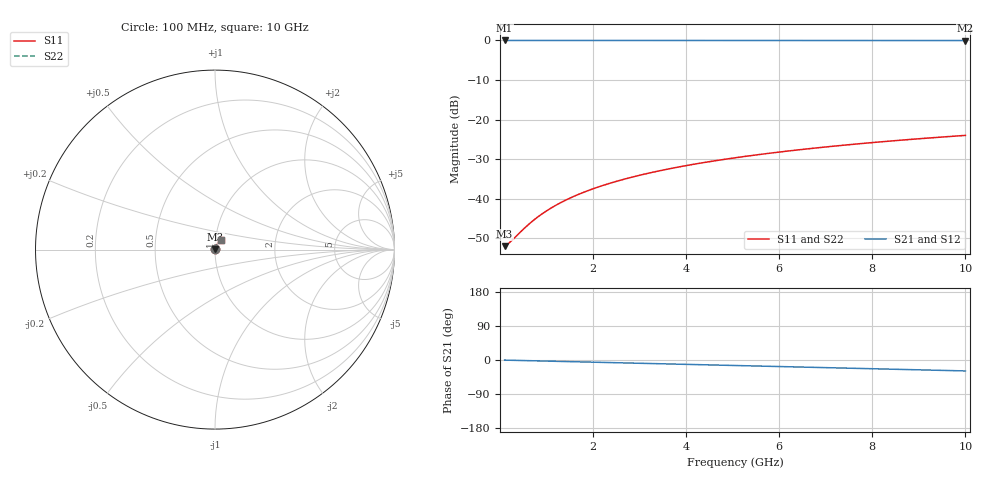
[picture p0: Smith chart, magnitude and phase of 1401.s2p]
# Hz S RI R 50.00
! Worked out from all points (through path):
!   100 points, 100 MHz to 10 GHz, reference 50 ohm
!   highest |S21| = -0.02 dB at 100 MHz (marker M1); lowest = 0.0 dB at 10 GHz (marker M2)
!   group delay of S21, straight-line fit = 8.01 ps
!   lowest |S11| = -52.0 dB at 100 MHz (marker M3), VSWR 1.01, Z = 50.2 + j0.065 ohm
!   |S11| at or under -10 dB: start of sweep to end of sweep
!   |S22| runs from -52.0 to -24.0 dB; largest |S21 - S12| = 0
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1e8  0.00244 0.000647  0.9975 -0.005  0.9975 -0.005  0.00244 0.000647
2e8  0.00247 0.00129  0.9975 -0.00999  0.9975 -0.00999  0.00247 0.00129
5e8  0.00256 0.00323  0.9972 -0.025  0.9972 -0.025  0.00256 0.00323
6e8  0.0026 0.00388  0.997 -0.03  0.997 -0.03  0.0026 0.00388
7e8  0.00265 0.00452  0.9969 -0.035  0.9969 -0.035  0.00265 0.00452
9e8  0.00276 0.00581  0.9964 -0.045  0.9964 -0.045  0.00276 0.00581
1.1e9  0.0029 0.00709  0.9959 -0.0549  0.9959 -0.0549  0.0029 0.00709
1.3e9  0.00306 0.00838  0.9953 -0.0649  0.9953 -0.0649  0.00306 0.00838
1.5e9  0.00324 0.00965  0.9946 -0.0749  0.9946 -0.0749  0.00324 0.00965
1.8e9  0.00357 0.0116  0.9933 -0.0898  0.9933 -0.0898  0.00357 0.0116
2.1e9  0.00395 0.0135  0.9918 -0.1048  0.9918 -0.1048  0.00395 0.0135
2.5e9  0.00455 0.016  0.9894 -0.1246  0.9894 -0.1246  0.00455 0.016
2.9e9  0.00525 0.0184  0.9866 -0.1445  0.9866 -0.1445  0.00525 0.0184
3.4e9  0.00626 0.0215  0.9826 -0.1692  0.9826 -0.1692  0.00626 0.0215
3.8e9  0.00718 0.0239  0.9789 -0.1889  0.9789 -0.1889  0.00718 0.0239
4.2e9  0.0082 0.0263  0.9749 -0.2085  0.9749 -0.2085  0.0082 0.0263
5.1e9  0.0108 0.0314  0.9642 -0.2524  0.9642 -0.2524  0.0108 0.0314
5.9e9  0.0136 0.0358  0.9531 -0.2909  0.9531 -0.2909  0.0136 0.0358
6.7e9  0.0166 0.04  0.9403 -0.329  0.9403 -0.329  0.0166 0.04
7.5e9  0.02 0.0439  0.926 -0.3666  0.926 -0.3666  0.02 0.0439
8.4e9  0.0243 0.0479  0.9081 -0.4082  0.9081 -0.4082  0.0243 0.0479
1e10  0.0326 0.0541  0.8716 -0.4801  0.8716 -0.4801  0.0326 0.0541
